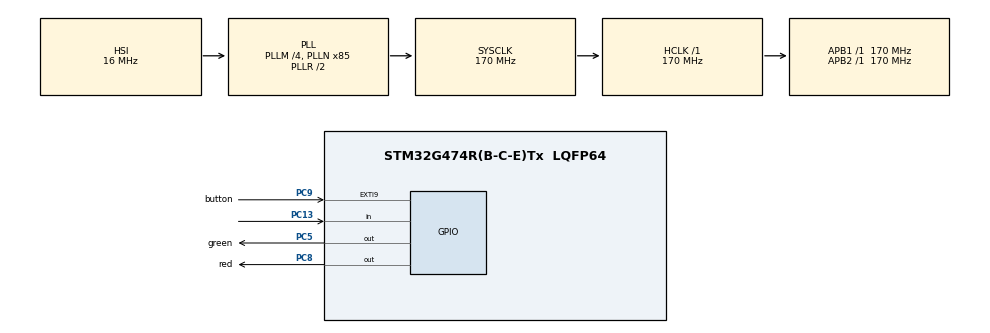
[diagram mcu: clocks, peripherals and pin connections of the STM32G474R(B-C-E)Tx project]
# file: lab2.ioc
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Mcu.Family=STM32G4
Mcu.Name=STM32G474R(B-C-E)Tx
Mcu.Package=LQFP64
NVIC.EXTI9_5_IRQn=true\:0\:0\:false\:false\:true\:true\:true\:true
NVIC.PriorityGroup=NVIC_PRIORITYGROUP_4
PA13.GPIO_Label=T_SWDIO
PA13.Signal=SYS_JTMS-SWDIO
PA14.GPIO_Label=T_SWCLK
PA14.Signal=SYS_JTCK-SWCLK
PA2.GPIO_Label=LPUART1_TX [STLINKV3E_VCP_RX]
PA2.Signal=LPUART1_TX
PA3.GPIO_Label=LPUART1_RX [STLINKV3E_VCP_TX]
PA3.Signal=LPUART1_RX
PB3.GPIO_Label=T_SWO
PB3.Signal=SYS_JTDO-SWO
PC13.Signal=GPIO_Input
PC14-OSC32_IN.GPIO_Label=RCC_OSC32_IN
PC14-OSC32_IN.Signal=RCC_OSC32_IN
PC15-OSC32_OUT.GPIO_Label=RCC_OSC32_OUT
PC15-OSC32_OUT.Signal=RCC_OSC32_OUT
PC5.GPIO_Label=green
PC5.Signal=GPIO_Output
PC8.GPIO_Label=red
PC8.Signal=GPIO_Output
PC9.GPIO_Label=button
PC9.GPIO_ModeDefaultEXTI=GPIO_MODE_IT_FALLING
PC9.GPIO_PuPd=GPIO_PULLUP
PC9.Signal=GPXTI9
PF0-OSC_IN.GPIO_Label=RCC_OSC_IN
PF0-OSC_IN.Signal=RCC_OSC_IN
PF1-OSC_OUT.GPIO_Label=RCC_OSC_OUT
PF1-OSC_OUT.Signal=RCC_OSC_OUT
ProjectManager.HeapSize=0x200
ProjectManager.StackSize=0x400
ProjectManager.TargetToolchain=STM32CubeIDE
RCC.ADC12Freq_Value=170000000
RCC.ADC345Freq_Value=170000000
RCC.AHBFreq_Value=170000000
RCC.APB1Freq_Value=170000000
RCC.APB1TimFreq_Value=170000000
RCC.APB2Freq_Value=170000000
RCC.APB2TimFreq_Value=170000000
RCC.CortexFreq_Value=170000000
RCC.EXTERNAL_CLOCK_VALUE=12288000
RCC.HCLKFreq_Value=170000000
RCC.HSE_VALUE=24000000
RCC.HSI48_VALUE=48000000
RCC.HSI_VALUE=16000000
RCC.LSE_VALUE=32768
RCC.PLLM=RCC_PLLM_DIV4
RCC.PLLN=85
RCC.RTCClockSelection=RCC_RTCCLKSOURCE_LSE
RCC.SYSCLKFreq_VALUE=170000000
RCC.SYSCLKSource=RCC_SYSCLKSOURCE_PLLCLK
RCC.USBFreq_Value=170000000
RCC.VCOOutputFreq_Value=340000000
VP_SYS_VS_DBSignals.Mode=DisableDeadBatterySignals
board=NUCLEO-G474RE

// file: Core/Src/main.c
/* USER CODE BEGIN Header */
/**
  ******************************************************************************
  * @file           : main.c
  * @brief          : Main program body
  ******************************************************************************
  * @attention
  *
  * Copyright (c) 2026 STMicroelectronics.
  * All rights reserved.
  *
  * This software is licensed under terms that can be found in the LICENSE file
  * in the root directory of this software component.
  * If no LICENSE file comes with this software, it is provided AS-IS.
  *
  ******************************************************************************
  */
/* USER CODE END Header */
#include "main.h"

/* USER CODE BEGIN PD */
/*
 * 接線：
 *   PC5 → 綠燈（經電阻接 GND）
 *   PC8 → 紅燈（經電阻接 GND）
 *   PC9 → 外部按鈕 → GND（按鈕用對角線兩隻腳；內部上拉，按下 = LOW）
 *
 * 功能：
 *   開機：綠燈 亮2秒/滅2秒 循環
 *   按一下外部按鈕 → 立即切成紅燈閃爍
 *   再按一下       → 立即切回綠燈循環
 *   （之後每按一下就來回切換）
 */
#define GREEN_MS       2000   /* 綠燈亮、滅各 2 秒 */
#define RED_BLINK_MS   500   /* 紅燈亮、滅各 0.5 秒 */
#define DEBOUNCE_MS    20     /* 按鈕去彈跳時間 */
/* USER CODE END PD */

void SystemClock_Config(void);
static void MX_GPIO_Init(void);

/* USER CODE BEGIN 0 */

/*
 * 偵測「按下的那一瞬間」
 * 每按一次只回傳一次 1；按著不放不會重複觸發
 */
static uint8_t Button_Event(void)
{
  static uint8_t was_pressed = 0;
  uint8_t now_pressed = (HAL_GPIO_ReadPin(GPIOC, GPIO_PIN_9) == GPIO_PIN_RESET);

  if (now_pressed && !was_pressed)
  {
    HAL_Delay(DEBOUNCE_MS);                                   /* 等抖動結束 */
    if (HAL_GPIO_ReadPin(GPIOC, GPIO_PIN_9) == GPIO_PIN_RESET)
    {
      was_pressed = 1;
      return 1;                                               /* 確定按下 */
    }
  }
  else if (!now_pressed && was_pressed)
  {
    HAL_Delay(DEBOUNCE_MS);                                   /* 放開也去彈跳 */
    was_pressed = 0;
  }

  return 0;
}

/* USER CODE END 0 */

int main(void)
{

  /* USER CODE BEGIN 1 */
  uint8_t  red_mode = 0;     /* 0 = 綠燈模式，1 = 紅燈閃爍模式 */
  uint8_t  led_on   = 1;     /* 目前這顆燈是亮(1)還是滅(0) */
  uint32_t last_tick;
  /* USER CODE END 1 */

  /* MCU Configuration--------------------------------------------------------*/

  /* Reset of all peripherals, Initializes the Flash interface and the Systick. */
  HAL_Init();

  /* Configure the system clock */
  SystemClock_Config();

  /* Initialize all configured peripherals */
  MX_GPIO_Init();
  /* USER CODE BEGIN 2 */
  /* 開機：紅燈關、綠燈亮，開始計時 */
  HAL_GPIO_WritePin(GPIOC, GPIO_PIN_8, GPIO_PIN_RESET);
  HAL_GPIO_WritePin(GPIOC, GPIO_PIN_5, GPIO_PIN_SET);
  last_tick = HAL_GetTick();
  /* USER CODE END 2 */

  /* Infinite loop */
  while (1)
  {

    /* USER CODE BEGIN 3 */
    /* ---------- 1. 隨時檢查按鈕：按一下就切換模式 ---------- */
    if (Button_Event())
    {
      red_mode = !red_mode;

      /* 兩顆燈先全關 */
      HAL_GPIO_WritePin(GPIOC, GPIO_PIN_5, GPIO_PIN_RESET);
      HAL_GPIO_WritePin(GPIOC, GPIO_PIN_8, GPIO_PIN_RESET);

      /* 新模式的燈立刻亮起，重新計時 */
      if (red_mode)
        HAL_GPIO_WritePin(GPIOC, GPIO_PIN_8, GPIO_PIN_SET);   /* 紅燈 */
      else
        HAL_GPIO_WritePin(GPIOC, GPIO_PIN_5, GPIO_PIN_SET);   /* 綠燈 */

      led_on    = 1;
      last_tick = HAL_GetTick();
    }

    /* ---------- 2. 時間到就讓目前模式的燈 亮/滅 反轉 ---------- */
    uint32_t period = red_mode ? RED_BLINK_MS : GREEN_MS;

    if ((HAL_GetTick() - last_tick) >= period)
    {
      last_tick = HAL_GetTick();
      led_on = !led_on;

      if (red_mode)
        HAL_GPIO_WritePin(GPIOC, GPIO_PIN_8, led_on ? GPIO_PIN_SET : GPIO_PIN_RESET);
      else
        HAL_GPIO_WritePin(GPIOC, GPIO_PIN_5, led_on ? GPIO_PIN_SET : GPIO_PIN_RESET);
    }
  }
  /* USER CODE END 3 */
}

void SystemClock_Config(void)
{
  RCC_OscInitTypeDef RCC_OscInitStruct = {0};
  RCC_ClkInitTypeDef RCC_ClkInitStruct = {0};

  /** Configure the main internal regulator output voltage
  */
  HAL_PWREx_ControlVoltageScaling(PWR_REGULATOR_VOLTAGE_SCALE1_BOOST);

  /** Initializes the RCC Oscillators according to the specified parameters
  * in the RCC_OscInitTypeDef structure.
  */
  RCC_OscInitStruct.OscillatorType = RCC_OSCILLATORTYPE_HSI;
  RCC_OscInitStruct.HSIState = RCC_HSI_ON;
  RCC_OscInitStruct.HSICalibrationValue = RCC_HSICALIBRATION_DEFAULT;
  RCC_OscInitStruct.PLL.PLLState = RCC_PLL_ON;
  RCC_OscInitStruct.PLL.PLLSource = RCC_PLLSOURCE_HSI;
  RCC_OscInitStruct.PLL.PLLM = RCC_PLLM_DIV4;
  RCC_OscInitStruct.PLL.PLLN = 85;
  RCC_OscInitStruct.PLL.PLLP = RCC_PLLP_DIV2;
  RCC_OscInitStruct.PLL.PLLQ = RCC_PLLQ_DIV2;
  RCC_OscInitStruct.PLL.PLLR = RCC_PLLR_DIV2;
  if (HAL_RCC_OscConfig(&RCC_OscInitStruct) != HAL_OK)
  {
    Error_Handler();
  }

  /** Initializes the CPU, AHB and APB buses clocks
  */
  RCC_ClkInitStruct.ClockType = RCC_CLOCKTYPE_HCLK|RCC_CLOCKTYPE_SYSCLK
                              |RCC_CLOCKTYPE_PCLK1|RCC_CLOCKTYPE_PCLK2;
  RCC_ClkInitStruct.SYSCLKSource = RCC_SYSCLKSOURCE_PLLCLK;
  RCC_ClkInitStruct.AHBCLKDivider = RCC_SYSCLK_DIV1;
  RCC_ClkInitStruct.APB1CLKDivider = RCC_HCLK_DIV1;
  RCC_ClkInitStruct.APB2CLKDivider = RCC_HCLK_DIV1;

  if (HAL_RCC_ClockConfig(&RCC_ClkInitStruct, FLASH_LATENCY_4) != HAL_OK)
  {
    Error_Handler();
  }
}

static void MX_GPIO_Init(void)
{
  GPIO_InitTypeDef GPIO_InitStruct = {0};

  /* GPIO Ports Clock Enable */
  __HAL_RCC_GPIOC_CLK_ENABLE();
  __HAL_RCC_GPIOF_CLK_ENABLE();
  __HAL_RCC_GPIOA_CLK_ENABLE();
  __HAL_RCC_GPIOB_CLK_ENABLE();

  /*Configure GPIO pin Output Level */
  HAL_GPIO_WritePin(GPIOC, green_Pin|red_Pin, GPIO_PIN_RESET);

  /*Configure GPIO pin : PC13 */
  GPIO_InitStruct.Pin = GPIO_PIN_13;
  GPIO_InitStruct.Mode = GPIO_MODE_INPUT;
  GPIO_InitStruct.Pull = GPIO_NOPULL;
  HAL_GPIO_Init(GPIOC, &GPIO_InitStruct);

  /*Configure GPIO pins : LPUART1_TX_Pin LPUART1_RX_Pin */
  GPIO_InitStruct.Pin = LPUART1_TX_Pin|LPUART1_RX_Pin;
  GPIO_InitStruct.Mode = GPIO_MODE_AF_PP;
  GPIO_InitStruct.Pull = GPIO_NOPULL;
  GPIO_InitStruct.Speed = GPIO_SPEED_FREQ_LOW;
  GPIO_InitStruct.Alternate = GPIO_AF12_LPUART1;
  HAL_GPIO_Init(GPIOA, &GPIO_InitStruct);

  /*Configure GPIO pins : green_Pin red_Pin */
  GPIO_InitStruct.Pin = green_Pin|red_Pin;
  GPIO_InitStruct.Mode = GPIO_MODE_OUTPUT_PP;
  GPIO_InitStruct.Pull = GPIO_NOPULL;
  GPIO_InitStruct.Speed = GPIO_SPEED_FREQ_LOW;
  HAL_GPIO_Init(GPIOC, &GPIO_InitStruct);

  /*Configure GPIO pin : button_Pin */
  GPIO_InitStruct.Pin = button_Pin;
  GPIO_InitStruct.Mode = GPIO_MODE_IT_FALLING;
  GPIO_InitStruct.Pull = GPIO_PULLUP;
  HAL_GPIO_Init(button_GPIO_Port, &GPIO_InitStruct);

  /* EXTI interrupt init*/
  HAL_NVIC_SetPriority(EXTI9_5_IRQn, 0, 0);
  HAL_NVIC_EnableIRQ(EXTI9_5_IRQn);

}

void Error_Handler(void)
{
  __disable_irq();
  while (1)
  {
  }
}
